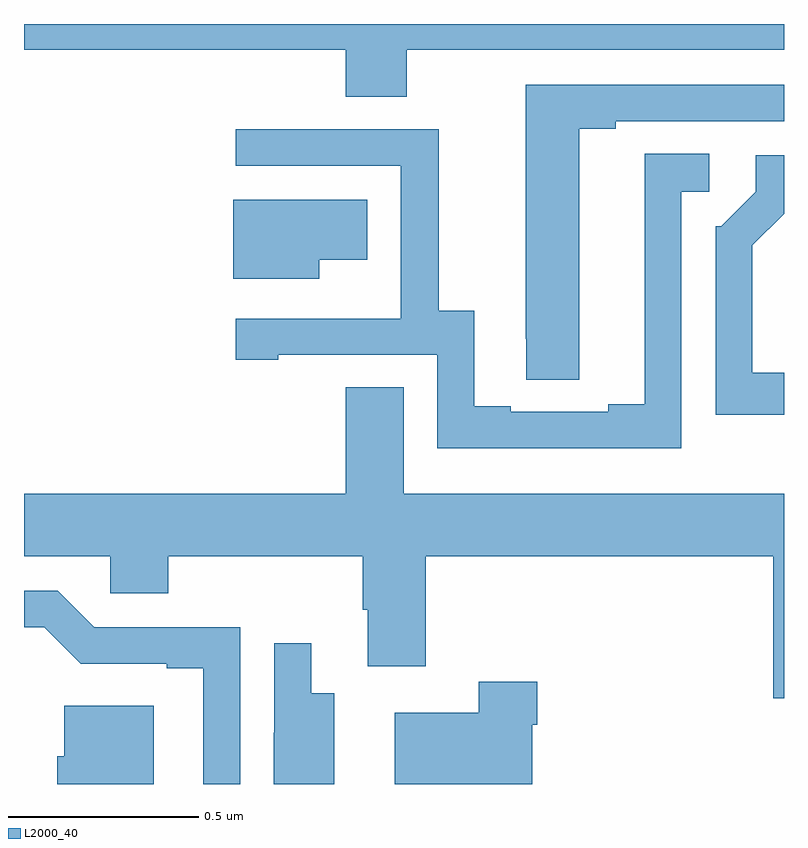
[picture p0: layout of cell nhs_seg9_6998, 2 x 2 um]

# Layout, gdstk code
import gdstk
lib = gdstk.Library(unit=1e-6, precision=1e-09)
def P(c, l, *ps):  # polygons
    for p in ps: c.add(gdstk.Polygon(p, *l))
L2000_40 = (2000, 40)

nhs_seg9_6998 = lib.new_cell('nhs_seg9_6998')
P(nhs_seg9_6998, L2000_40, [(200.007,1184.432),(201,1184.432),(201,1184.5),(199,1184.5),(199,1184.432),(199.847,1184.432),(199.847,1184.308),(200.007,1184.308)],
  [(200.461,1184.224),(200.557,1184.224),(200.557,1184.244),(201,1184.244),(201,1184.34),(200.321,1184.34),(200.321,1183.672),(200.322,1183.672),(200.322,1183.564),(200.461,1183.564)],
  [(200.73,1184.058),(200.803,1184.058),(200.803,1184.159),(200.633,1184.159),(200.633,1183.499),(200.537,1183.499),(200.537,1183.479),(200.281,1183.479),(200.281,1183.494),(200.185,1183.494),(200.185,1183.745),(200.091,1183.745),(200.091,1184.223),(199.557,1184.223),(199.557,1184.127),(199.992,1184.127),(199.992,1183.726),(199.991,1183.726),(199.991,1183.725),(199.557,1183.725),(199.557,1183.617),(199.669,1183.617),(199.669,1183.629),(200.088,1183.629),(200.088,1183.383),(200.73,1183.383)],
  [(201,1183.582),(200.917,1183.582),(200.917,1183.918),(201,1184.001),(201,1184.154),(200.925,1184.154),(200.925,1184.058),(200.835,1183.968),(200.82,1183.968),(200.82,1183.472),(201,1183.472)],
  [(199.777,1183.88),(199.903,1183.88),(199.903,1184.038),(199.55,1184.038),(199.55,1183.829),(199.777,1183.829)],
  [(201,1183.264),(199.999,1183.264),(199.999,1183.544),(199.847,1183.544),(199.847,1183.264),(199,1183.264),(199,1183.1),(199.227,1183.1),(199.227,1183.002),(199.379,1183.002),(199.379,1183.1),(199.892,1183.1),(199.892,1182.958),(199.904,1182.958),(199.904,1182.81),(200.057,1182.81),(200.057,1183.1),(200.972,1183.1),(200.972,1182.726),(201,1182.726)],
  [(199.569,1182.912),(199.185,1182.912),(199.089,1183.008),(199,1183.008),(199,1182.912),(199.053,1182.912),(199.149,1182.816),(199.376,1182.816),(199.376,1182.804),(199.472,1182.804),(199.472,1182.5),(199.569,1182.5)],
  [(199.816,1182.739),(199.756,1182.739),(199.756,1182.871),(199.658,1182.871),(199.658,1182.635),(199.657,1182.635),(199.657,1182.5),(199.816,1182.5)],
  [(200.338,1182.656),(200.351,1182.656),(200.351,1182.769),(200.197,1182.769),(200.197,1182.688),(199.976,1182.688),(199.976,1182.5),(200.338,1182.5)],
  [(199.342,1182.706),(199.106,1182.706),(199.106,1182.573),(199.088,1182.573),(199.088,1182.5),(199.342,1182.5)])

lib.write_gds('nhs_seg9_6998.gds')
